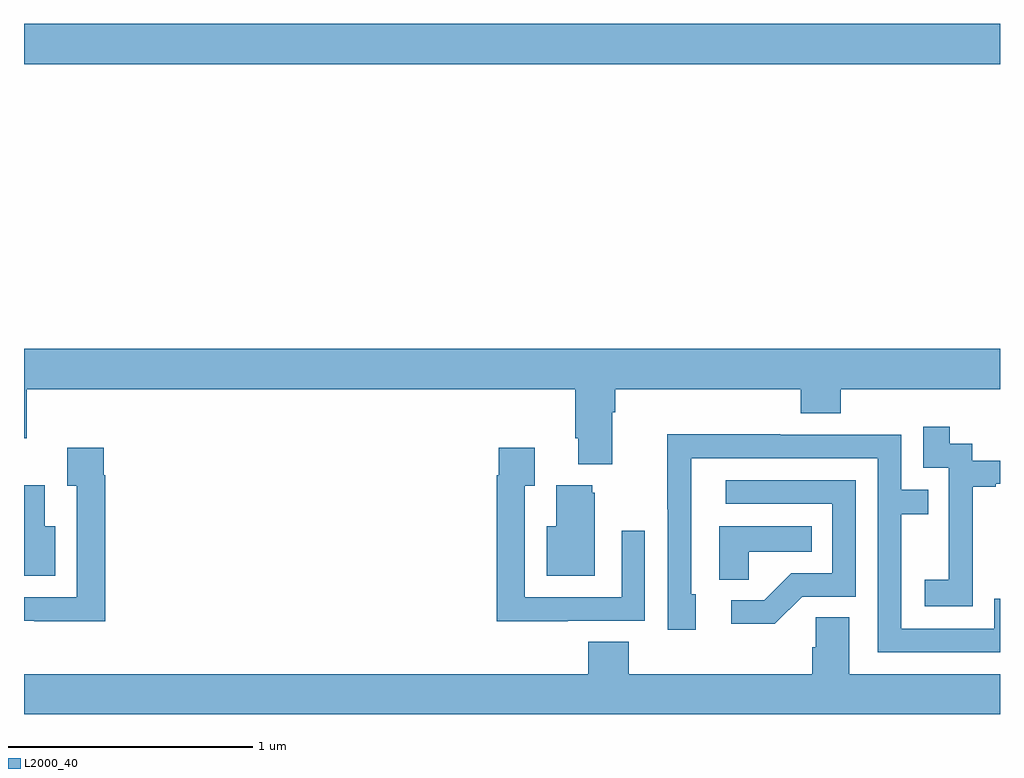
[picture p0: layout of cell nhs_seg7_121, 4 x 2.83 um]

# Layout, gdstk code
import gdstk
lib = gdstk.Library(unit=1e-6, precision=1e-09)
def R(c, l, rs):  # rectangles x0, y0, x1, y1
    for r in rs: c.add(gdstk.rectangle(r[:2], r[2:], *l))
def P(c, l, *ps):  # polygons
    for p in ps: c.add(gdstk.Polygon(p, *l))
L2000_40 = (2000, 40)

nhs_seg7_121 = lib.new_cell('nhs_seg7_121')
R(nhs_seg7_121, L2000_40, [(119,1035.248,123,1035.412)])
P(nhs_seg7_121, L2000_40, [(121.411,1033.82),(121.424,1033.82),(121.424,1033.916),(122.183,1033.916),(122.183,1033.817),(122.348,1033.817),(122.348,1033.916),(123,1033.916),(123,1034.08),(119,1034.08),(119,1033.714),(119.012,1033.714),(119.012,1033.916),(121.259,1033.916),(121.259,1033.714),(121.271,1033.714),(121.271,1033.607),(121.411,1033.607)],
  [(122.889,1033.231),(122.888,1033.231),(122.888,1033.515),(122.983,1033.515),(122.983,1033.527),(123,1033.527),(123,1033.623),(122.886,1033.623),(122.886,1033.692),(122.794,1033.692),(122.794,1033.762),(122.685,1033.762),(122.685,1033.593),(122.79,1033.593),(122.79,1033.364),(122.789,1033.364),(122.789,1033.135),(122.691,1033.135),(122.691,1033.025),(122.889,1033.025)],
  [(123,1033.056),(122.976,1033.056),(122.976,1032.933),(122.595,1032.933),(122.595,1033.402),(122.705,1033.402),(122.705,1033.503),(122.595,1033.503),(122.595,1033.728),(122.099,1033.728),(122.099,1033.73),(121.636,1033.73),(121.636,1033.423),(121.638,1033.423),(121.638,1032.93),(121.753,1032.93),(121.753,1033.074),(121.734,1033.074),(121.734,1033.632),(122.499,1033.632),(122.499,1032.837),(123,1032.837)],
  [(121.229,1032.966),(121.545,1032.966),(121.545,1033.336),(121.449,1033.336),(121.449,1033.062),(121.053,1033.062),(121.053,1033.519),(121.093,1033.519),(121.093,1033.675),(120.945,1033.675),(120.945,1033.562),(120.937,1033.562),(120.937,1032.965),(121.229,1032.965)],
  [(119.333,1033.562),(119.326,1033.562),(119.326,1033.675),(119.177,1033.675),(119.177,1033.519),(119.217,1033.519),(119.217,1033.062),(119,1033.062),(119,1032.966),(119.041,1032.966),(119.041,1032.965),(119.333,1032.965)],
  [(122.19,1033.065),(122.409,1033.065),(122.409,1033.542),(121.875,1033.542),(121.875,1033.446),(122.313,1033.446),(122.313,1033.161),(122.144,1033.161),(122.033,1033.05),(121.899,1033.05),(121.899,1032.953),(122.077,1032.953)],
  [(119.128,1033.354),(119.086,1033.354),(119.086,1033.522),(119,1033.522),(119,1033.151),(119.128,1033.151)],
  [(121.339,1033.491),(121.328,1033.491),(121.328,1033.522),(121.181,1033.522),(121.181,1033.354),(121.142,1033.354),(121.142,1033.151),(121.339,1033.151)],
  [(121.971,1033.25),(122.228,1033.25),(122.228,1033.354),(121.85,1033.354),(121.85,1033.135),(121.971,1033.135)],
  [(123,1032.748),(122.383,1032.748),(122.383,1032.98),(122.244,1032.98),(122.244,1032.857),(122.231,1032.857),(122.231,1032.748),(121.478,1032.748),(121.478,1032.881),(121.313,1032.881),(121.313,1032.748),(119,1032.748),(119,1032.584),(123,1032.584)])

lib.write_gds('nhs_seg7_121.gds')
